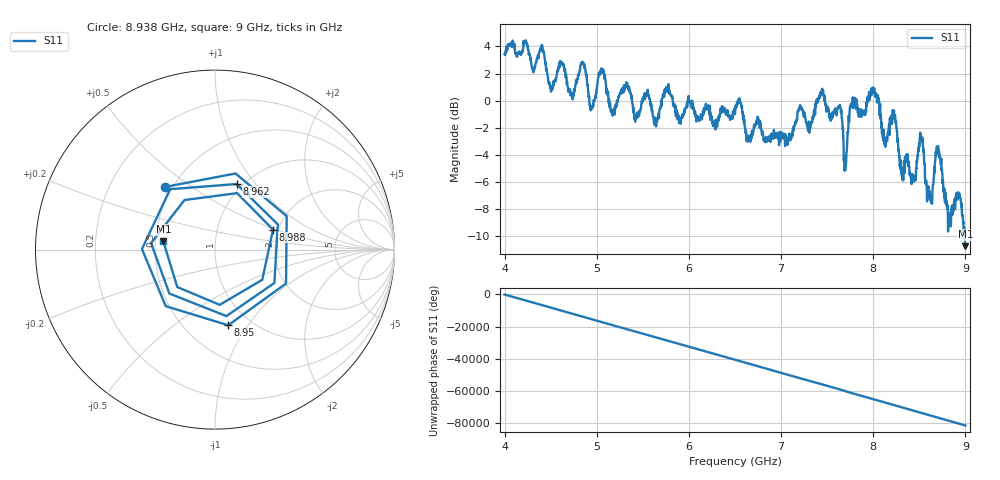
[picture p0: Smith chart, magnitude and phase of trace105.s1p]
! Created with skrf 1.8.0 (http://scikit-rf.org).
# Hz S RI R 50.0
!freq ReS11 ImS11
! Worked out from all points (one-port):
!   1601 points, 4 GHz to 9 GHz, reference 50 ohm
!   lowest |S11| = -10.7 dB at 9 GHz (marker M1), VSWR 1.82, Z = 27.6 + j2.74 ohm
!   |S11| at or under -10 dB: 8.990589 GHz to end of sweep
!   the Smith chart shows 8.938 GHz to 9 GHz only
!   S11 on the Smith chart (normalised r, x): 8.938 GHz: 0.46, +0.40; 8.95 GHz: 0.79, -0.81; 8.962 GHz: 0.94, +0.81; 8.988 GHz: 1.88, +0.47; 9 GHz: 0.55, +0.05
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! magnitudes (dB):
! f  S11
! 4 GHz  3.4
! 4.625 GHz  2.8
! 4.731 GHz  0.4
! 4.853 GHz  2.7
! 4.947 GHz  -0.6
! 5.05 GHz  2.4
! 5.166 GHz  -0.9
! 5.25 GHz  0.5
! 5.875 GHz  -1.3
! 6.5 GHz  -1.0
! 7.125 GHz  -2.6
! 7.444 GHz  0.9
! 7.638 GHz  -0.3
! 7.7 GHz  -4.9
! 7.75 GHz  -0.4
! 8.003 GHz  0.9
! 8.119 GHz  -2.6
! 8.375 GHz  -4.0
! 8.438 GHz  -5.7
! 8.522 GHz  -2.7
! 8.619 GHz  -7.1
! 8.703 GHz  -3.3
! 8.819 GHz  -8.7
! 8.938 GHz  -7.0
! 8.95 GHz  -7.4
! 8.962 GHz  -8.3
! 8.988 GHz  -9.3
! 9 GHz  -10.7
